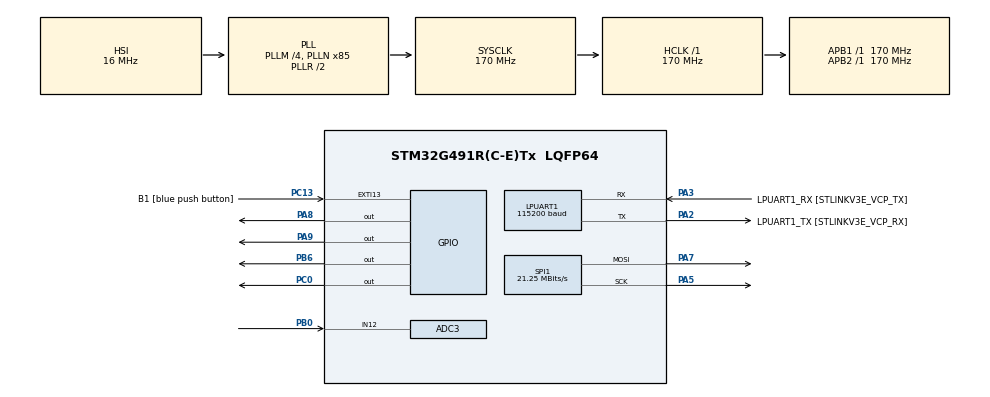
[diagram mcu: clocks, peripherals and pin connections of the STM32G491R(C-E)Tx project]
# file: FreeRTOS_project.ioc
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ADC3.Channel-0\#ChannelRegularConversion=ADC_CHANNEL_12
ADC3.NbrOfConversionFlag=1
ADC3.OffsetNumber-0\#ChannelRegularConversion=ADC_OFFSET_NONE
ADC3.Rank-0\#ChannelRegularConversion=1
ADC3.Resolution=ADC_RESOLUTION_8B
ADC3.SamplingTime-0\#ChannelRegularConversion=ADC_SAMPLETIME_2CYCLES_5
ADC3.master=1
FREERTOS.Tasks01=defaultTask,0,128,StartDefaultTask,Default,NULL,Dynamic,NULL,NULL
FREERTOS.configTICK_RATE_HZ=100
FREERTOS.configUSE_NEWLIB_REENTRANT=0
LPUART1.BaudRate=115200
Mcu.Family=STM32G4
Mcu.Name=STM32G491R(C-E)Tx
Mcu.Package=LQFP64
NVIC.EXTI15_10_IRQn=true\:5\:0\:false\:false\:true\:true\:true\:true\:true
NVIC.PriorityGroup=NVIC_PRIORITYGROUP_4
NVIC.TIM3_IRQn=true\:5\:0\:false\:false\:true\:true\:true\:true\:true
PA13.GPIO_Label=T_SWDIO
PA13.Signal=SYS_JTMS-SWDIO
PA14.GPIO_Label=T_SWCLK
PA14.Signal=SYS_JTCK-SWCLK
PA2.GPIO_Label=LPUART1_TX [STLINKV3E_VCP_RX]
PA2.Mode=Asynchronous
PA2.Signal=LPUART1_TX
PA3.GPIO_Label=LPUART1_RX [STLINKV3E_VCP_TX]
PA3.Mode=Asynchronous
PA3.Signal=LPUART1_RX
PA5.Mode=TX_Only_Simplex_Unidirect_Master
PA5.Signal=SPI1_SCK
PA7.Mode=TX_Only_Simplex_Unidirect_Master
PA7.Signal=SPI1_MOSI
PA8.Signal=GPIO_Output
PA9.Signal=GPIO_Output
PB0.Mode=IN12-Single-Ended
PB0.Signal=ADC3_IN12
PB3.GPIO_Label=T_SWO
PB3.Signal=SYS_JTDO-SWO
PB6.Signal=GPIO_Output
PC0.Signal=GPIO_Output
PC13.GPIO_Label=B1 [blue push button]
PC13.Signal=GPXTI13
PC14-OSC32_IN.Signal=RCC_OSC32_IN
PC15-OSC32_OUT.Signal=RCC_OSC32_OUT
PF0-OSC_IN.Signal=RCC_OSC_IN
PF1-OSC_OUT.Signal=RCC_OSC_OUT
ProjectManager.HeapSize=0x200
ProjectManager.StackSize=0x400
ProjectManager.TargetToolchain=STM32CubeIDE
RCC.ADC12Freq_Value=170000000
RCC.ADC345Freq_Value=170000000
RCC.AHBFreq_Value=170000000
RCC.APB1Freq_Value=170000000
RCC.APB1TimFreq_Value=170000000
RCC.APB2Freq_Value=170000000
RCC.APB2TimFreq_Value=170000000
RCC.CortexFreq_Value=170000000
RCC.EXTERNAL_CLOCK_VALUE=12288000
RCC.HCLKFreq_Value=170000000
RCC.HSE_VALUE=24000000
RCC.HSI48_VALUE=48000000
RCC.HSI_VALUE=16000000
RCC.LSE_VALUE=32768
RCC.PLLM=RCC_PLLM_DIV4
RCC.PLLN=85
RCC.RTCClockSelection=RCC_RTCCLKSOURCE_LSE
RCC.SYSCLKFreq_VALUE=170000000
RCC.SYSCLKSource=RCC_SYSCLKSOURCE_PLLCLK
RCC.USBFreq_Value=48000000
RCC.VCOOutputFreq_Value=340000000
SPI1.BaudRatePrescaler=SPI_BAUDRATEPRESCALER_8
SPI1.CalculateBaudRate=21.25 MBits/s
SPI1.Direction=SPI_DIRECTION_2LINES
SPI1.Mode=SPI_MODE_MASTER
SPI1.VirtualType=VM_MASTER
TIM3.PeriodNoDither=10000
TIM3.Prescaler=16999
VP_FREERTOS_VS_CMSIS_V1.Mode=CMSIS_V1
VP_SYS_VS_DBSignals.Mode=DisableDeadBatterySignals
VP_TIM3_VS_ClockSourceINT.Mode=Internal
board=NUCLEO-G491RE

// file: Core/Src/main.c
/* USER CODE BEGIN Header */
/* USER CODE END Header */
#include "main.h"
#include "cmsis_os.h"

/* USER CODE BEGIN Includes */
#include <stdio.h>
#include "fonts.h"
#include "st7735.h"
/* USER CODE END Includes */

ADC_HandleTypeDef hadc3;

UART_HandleTypeDef hlpuart1;

SPI_HandleTypeDef hspi1;

TIM_HandleTypeDef htim3;

osThreadId defaultTaskHandle;
/* USER CODE BEGIN PV */
typedef enum
{
	LED_source,
	Button_source,
	ADC_source,
	Time_source
} DataSource_t;	// Enum data types for Queue

typedef struct
{
	unsigned char Data;
	DataSource_t DataSource;
} Data_t;	// Struct type with data and data source to be send in Queue

static Data_t DataStructs[ 4 ] =
{
		{ 0, LED_source },
		{ 0, Button_source },
		{ 0, ADC_source },
		{ 0, Time_source },
};	// 4 struct array members created

QueueHandle_t Queue_handle;
TaskHandle_t LCD_UART_handle;

unsigned char counter;			// button
unsigned char seconds;			// timer
unsigned char startup_flag;		// startup flag for timer

/* USER CODE END PV */

void SystemClock_Config(void);
static void MX_GPIO_Init(void);
static void MX_ADC3_Init(void);
static void MX_LPUART1_UART_Init(void);
static void MX_SPI1_Init(void);
static void MX_TIM3_Init(void);
void StartDefaultTask(void const * argument);

/* USER CODE BEGIN PFP */
void HAL_GPIO_EXTI_Callback(uint16_t GPIO_Pin); // button ISR
void HAL_TIM_PeriodElapsedCallback(TIM_HandleTypeDef *htim); // Timer ISR
void ADC(void *pvParameters);	// Task (P1)
void LED(void *pvParameters);	// Task (P1)
void LCD_UART(void *pvParameters);	// Task (P2)
/* USER CODE END PFP */

/* USER CODE BEGIN 0 */
void HAL_TIM_PeriodElapsedCallback(TIM_HandleTypeDef *htim)
{
	if (htim->Instance == TIM3)
	{
		seconds++;
		if(seconds >= 5 && startup_flag == 0)
			startup_flag = 1;
		if(seconds >= 100)
			seconds = 0;
		if(startup_flag)
		{
			DataStructs->DataSource = Time_source;
			DataStructs->Data = seconds;

			xQueueSendToBackFromISR(Queue_handle,&DataStructs,NULL);
			vTaskNotifyGiveFromISR(LCD_UART_handle,NULL);
		}
	}
}
void HAL_GPIO_EXTI_Callback(uint16_t GPIO_Pin)	// button ISR
{
	counter++;
	if(counter >= 100)  // count only to two digit value
		counter = 0;

	DataStructs->DataSource = Button_source;
	DataStructs->Data = counter;

	xQueueSendToBackFromISR(Queue_handle,&DataStructs,NULL);
	vTaskNotifyGiveFromISR(LCD_UART_handle,NULL);
}
void ADC(void *pvParameters) // Task
{
	unsigned char adc_value;

	for( ;; )
	{
		adc_value = HAL_ADC_GetValue(&hadc3);

		DataStructs->DataSource = ADC_source;
		DataStructs->Data = adc_value;

		HAL_ADC_Start(&hadc3);

		xQueueSendToBackFromISR(Queue_handle,&DataStructs,0);

		xTaskNotifyGive(LCD_UART_handle);
		vTaskDelay(pdMS_TO_TICKS(500));		// wait for 500 ms
	}
}
void LED(void *pvParameters)	// Task
{
	unsigned char led_state;

	for( ;; )
	{
		HAL_GPIO_TogglePin(GPIOC, GPIO_PIN_0); 	// LED toggle
		if(HAL_GPIO_ReadPin(GPIOC, GPIO_PIN_0))	// check LED state
			led_state = 1;
		else
			led_state = 0;

		DataStructs->DataSource = LED_source;
		DataStructs->Data = led_state;

		xQueueSendToBack(Queue_handle,&DataStructs,0);

		xTaskNotifyGive(LCD_UART_handle);
		vTaskDelay(pdMS_TO_TICKS(250));		// wait for 250 ms
	}
}
void LCD_UART(void *pvParameters)	// Task
{

	for(;;)
	{
		xQueueReceive(Queue_handle, &DataStructs, pdMS_TO_TICKS(500));

		if(DataStructs->DataSource == LED_source)
		{
			if(DataStructs->Data == GPIO_PIN_SET)
			{
				// Show LED state on LCD and PC terminal:
				ST7735_DrawString(6, 1, "ON ", ST7735_BLACK);
				HAL_UART_Transmit(&hlpuart1, (unsigned char*)"LED: ON\n", sizeof("LED: ON\n"), 50);
			}
			else
			{
				// Show LED state on LCD and PC terminal:
				ST7735_DrawString(6, 1, "OFF", ST7735_BLACK);
				HAL_UART_Transmit(&hlpuart1, (unsigned char*)"LED: OFF\n", sizeof("LED: OFF\n"), 50);
			}
		}
		else if(DataStructs->DataSource == Button_source)
		{
			char buffer[3];
			unsigned char counter;

			// Get data from queue struct:
			counter = DataStructs->Data;
			sprintf(buffer, "%d", counter);

			// Show button presses count on LCD and PC terminal:
			ST7735_DrawString(6, 3, buffer, ST7735_BLACK);
			HAL_UART_Transmit(&hlpuart1, (unsigned char*)"Button count: ", sizeof("Button count: "), 50);
			HAL_UART_Transmit(&hlpuart1, (unsigned char*)buffer, 3, 50);
			HAL_UART_Transmit(&hlpuart1, (unsigned char*)"\n", sizeof("\n"), 50);
		}
		else if(DataStructs->DataSource == ADC_source)
		{
			char buffer[5];
		    unsigned char adc_value,volt,volt_decimal;

		    // Get data from queue struct:
		    adc_value = DataStructs->Data;
		    // Change ADC value to buffer:
		    volt = adc_value * 0.01;
			volt_decimal = adc_value % 100;
			sprintf(buffer, "%d.%d",volt,volt_decimal);

			// Show voltage on LCD and PC terminal:
			ST7735_DrawString(6, 5, buffer, ST7735_BLACK);
			HAL_UART_Transmit(&hlpuart1, (unsigned char*)"ADC value: ", sizeof("ADC value: "), 50);
			HAL_UART_Transmit(&hlpuart1, (unsigned char*)buffer, 5, 50);
			HAL_UART_Transmit(&hlpuart1, (unsigned char*)"\n", sizeof("\n"), 50);
		}

		else if(DataStructs->DataSource == Time_source)
		{
			char buffer[3];
			unsigned char seconds;

			// Get data from queue struct:
			seconds = DataStructs->Data;
			sprintf(buffer, "%d", seconds);

			// Show time on LCD and PC terminal:
			ST7735_DrawString(6, 7, buffer, ST7735_BLACK);
			HAL_UART_Transmit(&hlpuart1, (unsigned char*)"Time: ", sizeof("Time: "), 50);
			HAL_UART_Transmit(&hlpuart1, (unsigned char*)buffer, 3, 50);
			HAL_UART_Transmit(&hlpuart1, (unsigned char*)"\n", sizeof("\n"), 50);
		}
		else
		{
			// In case error happens show that on PC terminal:
			HAL_UART_Transmit(&hlpuart1, (unsigned char*)"ERROR", sizeof("ERROR"), 50);
			HAL_UART_Transmit(&hlpuart1, (unsigned char*)"\n", sizeof("\n"), 50);
		}
		// Task Notification working as a counting semaphore,
		// waiting indefinitely:
		ulTaskNotifyTake( 0, pdMS_TO_TICKS(portMAX_DELAY));
	}
}

/* USER CODE END 0 */

int main(void)
{

  /* MCU Configuration--------------------------------------------------------*/

  /* Reset of all peripherals, Initializes the Flash interface and the Systick. */
  HAL_Init();

  /* Configure the system clock */
  SystemClock_Config();

  /* Initialize all configured peripherals */
  MX_GPIO_Init();
  MX_ADC3_Init();
  MX_LPUART1_UART_Init();
  MX_SPI1_Init();
  MX_TIM3_Init();
  /* USER CODE BEGIN 2 */

  ST7735_Init();									// LCD initialization
  ST7735_FillScreen(ST7735_WHITE);					// White background
  ST7735_DrawString(1, 1, "LED:", ST7735_BLACK);	// Text on LCD
  ST7735_DrawString(1, 3, "CNT:", ST7735_BLACK);
  ST7735_DrawString(1, 5, "ADC:", ST7735_BLACK);
  ST7735_DrawString(1, 7, "TIM:", ST7735_BLACK);
  HAL_TIM_Base_Start_IT(&htim3);					// Start timer

  /* USER CODE END 2 */

  /* USER CODE BEGIN RTOS_QUEUES */

  Queue_handle = xQueueCreate( 3, sizeof( Data_t ) );

  /* USER CODE END RTOS_QUEUES */

  /* Create the thread(s) */
  /* definition and creation of defaultTask */
  osThreadDef(defaultTask, StartDefaultTask, osPriorityNormal, 0, 128);
  defaultTaskHandle = osThreadCreate(osThread(defaultTask), NULL);

  /* USER CODE BEGIN RTOS_THREADS */
  // External LED switching:
  xTaskCreate(LED, "LED", 100, &Queue_handle, 1, NULL);
  // ADC value reading:
  xTaskCreate(ADC, "ADC", 100, &Queue_handle, 1, NULL);
  //LCD refreshing with new values:
  xTaskCreate(LCD_UART, "LCD", 100, &Queue_handle, 2, &LCD_UART_handle);

  /* USER CODE END RTOS_THREADS */

  /* Start scheduler */
  osKernelStart();

  /* We should never get here as control is now taken by the scheduler */
  /* Infinite loop */
  while (1)
  {

  }
}

void SystemClock_Config(void)
{
  RCC_OscInitTypeDef RCC_OscInitStruct = {0};
  RCC_ClkInitTypeDef RCC_ClkInitStruct = {0};

  /** Configure the main internal regulator output voltage
  */
  HAL_PWREx_ControlVoltageScaling(PWR_REGULATOR_VOLTAGE_SCALE1_BOOST);

  /** Initializes the RCC Oscillators according to the specified parameters
  * in the RCC_OscInitTypeDef structure.
  */
  RCC_OscInitStruct.OscillatorType = RCC_OSCILLATORTYPE_HSI;
  RCC_OscInitStruct.HSIState = RCC_HSI_ON;
  RCC_OscInitStruct.HSICalibrationValue = RCC_HSICALIBRATION_DEFAULT;
  RCC_OscInitStruct.PLL.PLLState = RCC_PLL_ON;
  RCC_OscInitStruct.PLL.PLLSource = RCC_PLLSOURCE_HSI;
  RCC_OscInitStruct.PLL.PLLM = RCC_PLLM_DIV4;
  RCC_OscInitStruct.PLL.PLLN = 85;
  RCC_OscInitStruct.PLL.PLLP = RCC_PLLP_DIV2;
  RCC_OscInitStruct.PLL.PLLQ = RCC_PLLQ_DIV2;
  RCC_OscInitStruct.PLL.PLLR = RCC_PLLR_DIV2;
  if (HAL_RCC_OscConfig(&RCC_OscInitStruct) != HAL_OK)
  {
    Error_Handler();
  }

  /** Initializes the CPU, AHB and APB buses clocks
  */
  RCC_ClkInitStruct.ClockType = RCC_CLOCKTYPE_HCLK|RCC_CLOCKTYPE_SYSCLK
                              |RCC_CLOCKTYPE_PCLK1|RCC_CLOCKTYPE_PCLK2;
  RCC_ClkInitStruct.SYSCLKSource = RCC_SYSCLKSOURCE_PLLCLK;
  RCC_ClkInitStruct.AHBCLKDivider = RCC_SYSCLK_DIV1;
  RCC_ClkInitStruct.APB1CLKDivider = RCC_HCLK_DIV1;
  RCC_ClkInitStruct.APB2CLKDivider = RCC_HCLK_DIV1;

  if (HAL_RCC_ClockConfig(&RCC_ClkInitStruct, FLASH_LATENCY_4) != HAL_OK)
  {
    Error_Handler();
  }
}

static void MX_ADC3_Init(void)
{

  ADC_ChannelConfTypeDef sConfig = {0};

  /** Common config
  */
  hadc3.Instance = ADC3;
  hadc3.Init.ClockPrescaler = ADC_CLOCK_SYNC_PCLK_DIV4;
  hadc3.Init.Resolution = ADC_RESOLUTION_8B;
  hadc3.Init.DataAlign = ADC_DATAALIGN_RIGHT;
  hadc3.Init.GainCompensation = 0;
  hadc3.Init.ScanConvMode = ADC_SCAN_DISABLE;
  hadc3.Init.EOCSelection = ADC_EOC_SINGLE_CONV;
  hadc3.Init.LowPowerAutoWait = DISABLE;
  hadc3.Init.ContinuousConvMode = DISABLE;
  hadc3.Init.NbrOfConversion = 1;
  hadc3.Init.DiscontinuousConvMode = DISABLE;
  hadc3.Init.ExternalTrigConv = ADC_SOFTWARE_START;
  hadc3.Init.ExternalTrigConvEdge = ADC_EXTERNALTRIGCONVEDGE_NONE;
  hadc3.Init.DMAContinuousRequests = DISABLE;
  hadc3.Init.Overrun = ADC_OVR_DATA_PRESERVED;
  hadc3.Init.OversamplingMode = DISABLE;
  if (HAL_ADC_Init(&hadc3) != HAL_OK)
  {
    Error_Handler();
  }

  /** Configure Regular Channel
  */
  sConfig.Channel = ADC_CHANNEL_12;
  sConfig.Rank = ADC_REGULAR_RANK_1;
  sConfig.SamplingTime = ADC_SAMPLETIME_2CYCLES_5;
  sConfig.SingleDiff = ADC_SINGLE_ENDED;
  sConfig.OffsetNumber = ADC_OFFSET_NONE;
  sConfig.Offset = 0;
  if (HAL_ADC_ConfigChannel(&hadc3, &sConfig) != HAL_OK)
  {
    Error_Handler();
  }

}

static void MX_LPUART1_UART_Init(void)
{

  hlpuart1.Instance = LPUART1;
  hlpuart1.Init.BaudRate = 115200;
  hlpuart1.Init.WordLength = UART_WORDLENGTH_8B;
  hlpuart1.Init.StopBits = UART_STOPBITS_1;
  hlpuart1.Init.Parity = UART_PARITY_NONE;
  hlpuart1.Init.Mode = UART_MODE_TX_RX;
  hlpuart1.Init.HwFlowCtl = UART_HWCONTROL_NONE;
  hlpuart1.Init.OneBitSampling = UART_ONE_BIT_SAMPLE_DISABLE;
  hlpuart1.Init.ClockPrescaler = UART_PRESCALER_DIV1;
  hlpuart1.AdvancedInit.AdvFeatureInit = UART_ADVFEATURE_NO_INIT;
  if (HAL_UART_Init(&hlpuart1) != HAL_OK)
  {
    Error_Handler();
  }
  if (HAL_UARTEx_SetTxFifoThreshold(&hlpuart1, UART_TXFIFO_THRESHOLD_1_8) != HAL_OK)
  {
    Error_Handler();
  }
  if (HAL_UARTEx_SetRxFifoThreshold(&hlpuart1, UART_RXFIFO_THRESHOLD_1_8) != HAL_OK)
  {
    Error_Handler();
  }
  if (HAL_UARTEx_DisableFifoMode(&hlpuart1) != HAL_OK)
  {
    Error_Handler();
  }

}

static void MX_SPI1_Init(void)
{

  /* SPI1 parameter configuration*/
  hspi1.Instance = SPI1;
  hspi1.Init.Mode = SPI_MODE_MASTER;
  hspi1.Init.Direction = SPI_DIRECTION_2LINES;
  hspi1.Init.DataSize = SPI_DATASIZE_8BIT;
  hspi1.Init.CLKPolarity = SPI_POLARITY_LOW;
  hspi1.Init.CLKPhase = SPI_PHASE_1EDGE;
  hspi1.Init.NSS = SPI_NSS_SOFT;
  hspi1.Init.BaudRatePrescaler = SPI_BAUDRATEPRESCALER_8;
  hspi1.Init.FirstBit = SPI_FIRSTBIT_MSB;
  hspi1.Init.TIMode = SPI_TIMODE_DISABLE;
  hspi1.Init.CRCCalculation = SPI_CRCCALCULATION_DISABLE;
  hspi1.Init.CRCPolynomial = 7;
  hspi1.Init.CRCLength = SPI_CRC_LENGTH_DATASIZE;
  hspi1.Init.NSSPMode = SPI_NSS_PULSE_ENABLE;
  if (HAL_SPI_Init(&hspi1) != HAL_OK)
  {
    Error_Handler();
  }

}

static void MX_TIM3_Init(void)
{

  TIM_ClockConfigTypeDef sClockSourceConfig = {0};
  TIM_MasterConfigTypeDef sMasterConfig = {0};

  htim3.Instance = TIM3;
  htim3.Init.Prescaler = 16999;
  htim3.Init.CounterMode = TIM_COUNTERMODE_UP;
  htim3.Init.Period = 10000;
  htim3.Init.ClockDivision = TIM_CLOCKDIVISION_DIV1;
  htim3.Init.AutoReloadPreload = TIM_AUTORELOAD_PRELOAD_DISABLE;
  if (HAL_TIM_Base_Init(&htim3) != HAL_OK)
  {
    Error_Handler();
  }
  sClockSourceConfig.ClockSource = TIM_CLOCKSOURCE_INTERNAL;
  if (HAL_TIM_ConfigClockSource(&htim3, &sClockSourceConfig) != HAL_OK)
  {
    Error_Handler();
  }
  sMasterConfig.MasterOutputTrigger = TIM_TRGO_RESET;
  sMasterConfig.MasterSlaveMode = TIM_MASTERSLAVEMODE_DISABLE;
  if (HAL_TIMEx_MasterConfigSynchronization(&htim3, &sMasterConfig) != HAL_OK)
  {
    Error_Handler();
  }

}

static void MX_GPIO_Init(void)
{
  GPIO_InitTypeDef GPIO_InitStruct = {0};

  /* GPIO Ports Clock Enable */
  __HAL_RCC_GPIOC_CLK_ENABLE();
  __HAL_RCC_GPIOF_CLK_ENABLE();
  __HAL_RCC_GPIOA_CLK_ENABLE();
  __HAL_RCC_GPIOB_CLK_ENABLE();

  /*Configure GPIO pin Output Level */
  HAL_GPIO_WritePin(GPIOC, GPIO_PIN_0, GPIO_PIN_RESET);

  /*Configure GPIO pin Output Level */
  HAL_GPIO_WritePin(GPIOA, GPIO_PIN_8|GPIO_PIN_9, GPIO_PIN_RESET);

  /*Configure GPIO pin Output Level */
  HAL_GPIO_WritePin(GPIOB, GPIO_PIN_6, GPIO_PIN_RESET);

  /*Configure GPIO pin : B1_Pin */
  GPIO_InitStruct.Pin = B1_Pin;
  GPIO_InitStruct.Mode = GPIO_MODE_IT_RISING;
  GPIO_InitStruct.Pull = GPIO_NOPULL;
  HAL_GPIO_Init(B1_GPIO_Port, &GPIO_InitStruct);

  /*Configure GPIO pin : PC0 */
  GPIO_InitStruct.Pin = GPIO_PIN_0;
  GPIO_InitStruct.Mode = GPIO_MODE_OUTPUT_PP;
  GPIO_InitStruct.Pull = GPIO_NOPULL;
  GPIO_InitStruct.Speed = GPIO_SPEED_FREQ_LOW;
  HAL_GPIO_Init(GPIOC, &GPIO_InitStruct);

  /*Configure GPIO pins : PA8 PA9 */
  GPIO_InitStruct.Pin = GPIO_PIN_8|GPIO_PIN_9;
  GPIO_InitStruct.Mode = GPIO_MODE_OUTPUT_PP;
  GPIO_InitStruct.Pull = GPIO_NOPULL;
  GPIO_InitStruct.Speed = GPIO_SPEED_FREQ_LOW;
  HAL_GPIO_Init(GPIOA, &GPIO_InitStruct);

  /*Configure GPIO pin : PB6 */
  GPIO_InitStruct.Pin = GPIO_PIN_6;
  GPIO_InitStruct.Mode = GPIO_MODE_OUTPUT_PP;
  GPIO_InitStruct.Pull = GPIO_NOPULL;
  GPIO_InitStruct.Speed = GPIO_SPEED_FREQ_LOW;
  HAL_GPIO_Init(GPIOB, &GPIO_InitStruct);

  /* EXTI interrupt init*/
  HAL_NVIC_SetPriority(EXTI15_10_IRQn, 5, 0);
  HAL_NVIC_EnableIRQ(EXTI15_10_IRQn);

}

void StartDefaultTask(void const * argument)
{
  for(;;)
  {
    osDelay(1);
  }
}

void Error_Handler(void)
{
  __disable_irq();
  while (1)
  {
  }
}
